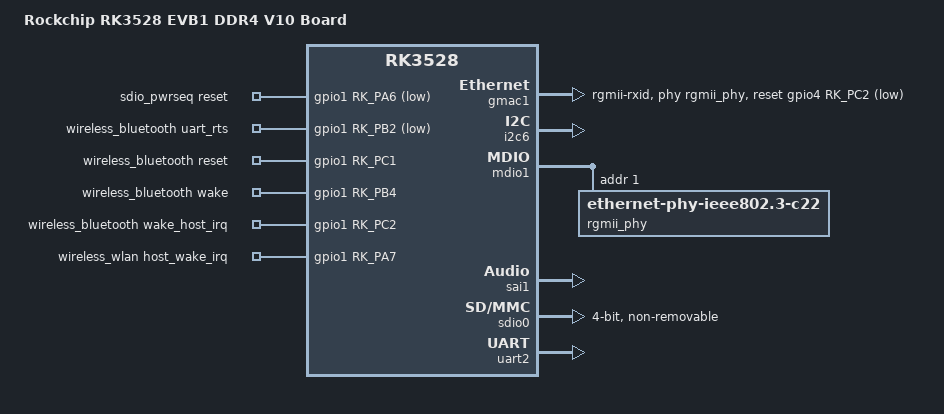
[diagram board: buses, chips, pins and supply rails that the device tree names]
// SPDX-License-Identifier: (GPL-2.0+ OR MIT)
/*
 * Copyright (c) 2022 Rockchip Electronics Co., Ltd.
 *
 */

/dts-v1/;

#include "rk3528.dtsi"
#include "rk3528-evb.dtsi"

/ {
	model = "Rockchip RK3528 EVB1 DDR4 V10 Board";
	compatible = "rockchip,rk3528-evb1-ddr4-v10", "rockchip,rk3528";

	sdio_pwrseq: sdio-pwrseq {
		compatible = "mmc-pwrseq-simple";
		pinctrl-names = "default";
		pinctrl-0 = <&wifi_enable_h &clkm1_32k_out>;
		reset-gpios = <&gpio1 RK_PA6 GPIO_ACTIVE_LOW>;
	};

	wireless_bluetooth: wireless-bluetooth {
		compatible = "bluetooth-platdata";
		//wifi-bt-power-toggle;
		uart_rts_gpios = <&gpio1 RK_PB2 GPIO_ACTIVE_LOW>;
		pinctrl-names = "default", "rts_gpio";
		pinctrl-0 = <&uart2m1_rtsn>;
		pinctrl-1 = <&uart2m1_gpios>;
		BT,reset_gpio    = <&gpio1 RK_PC1 GPIO_ACTIVE_HIGH>;
		BT,wake_gpio     = <&gpio1 RK_PB4 GPIO_ACTIVE_HIGH>;
		BT,wake_host_irq = <&gpio1 RK_PC2 GPIO_ACTIVE_HIGH>;
		status = "okay";
	};

	wireless_wlan: wireless-wlan {
		compatible = "wlan-platdata";
		rockchip,grf = <&grf>;
		wifi_chip_type = "ap6275s";
		pinctrl-names = "default";
		pinctrl-0 = <&wifi_host_wake_irq>;
		WIFI,host_wake_irq = <&gpio1 RK_PA7 GPIO_ACTIVE_HIGH>;
		status = "okay";
	};

};

&es7243_sound {
	status = "disabled";
};

&gmac1 {
	/* Use rgmii-rxid mode to disable rx delay inside Soc */
	phy-mode = "rgmii-rxid";
	clock_in_out = "output";

	snps,reset-gpio = <&gpio4 RK_PC2 GPIO_ACTIVE_LOW>;
	snps,reset-active-low;
	/* Reset time is 20ms, 100ms for rtl8211f */
	snps,reset-delays-us = <0 20000 100000>;

	tx_delay = <0x30>;
	/* rx_delay = <0x3f>; */

	pinctrl-names = "default";
	pinctrl-0 = <&rgmii_miim
		     &rgmii_tx_bus2
		     &rgmii_rx_bus2
		     &rgmii_rgmii_clk
		     &rgmii_rgmii_bus>;

	phy-handle = <&rgmii_phy>;
	status = "okay";
};

&i2c6 {
	status = "okay";
};

&mdio1 {
	rgmii_phy: phy@1 {
		compatible = "ethernet-phy-ieee802.3-c22";
		reg = <0x1>;
	};
};

&sai1 {
	status = "okay";
};

&sdio0 {
	max-frequency = <200000000>;
	no-sd;
	no-mmc;
	supports-sdio;
	bus-width = <4>;
	disable-wp;
	cap-sd-highspeed;
	cap-sdio-irq;
	keep-power-in-suspend;
	non-removable;
	mmc-pwrseq = <&sdio_pwrseq>;
	pinctrl-names = "default";
	pinctrl-0 = <&sdio0_bus4 &sdio0_cmd &sdio0_clk>;
	sd-uhs-sdr104;
	status = "okay";
};

&uart2 {
	status = "okay";
	pinctrl-names = "default";
	pinctrl-0 = <&uart2m1_xfer &uart2m1_ctsn>;
};

&pinctrl {
	sdio-pwrseq {
		wifi_enable_h: wifi-enable-h {
			rockchip,pins = <1 RK_PA6 RK_FUNC_GPIO &pcfg_pull_none>;
		};

		wifi_32k: wifi-32k {
			rockchip,pins = <1 RK_PC3 1 &pcfg_pull_none>;
		};
	};

	wireless-wlan {
		wifi_host_wake_irq: wifi-host-wake-irq {
			rockchip,pins = <1 RK_PA7 RK_FUNC_GPIO &pcfg_pull_down>;
		};
	};

	wireless-bluetooth {
		uart2m1_gpios: uart2m1-gpios {
			rockchip,pins = <1 RK_PB2 RK_FUNC_GPIO &pcfg_pull_none>;
		};
	};
};
